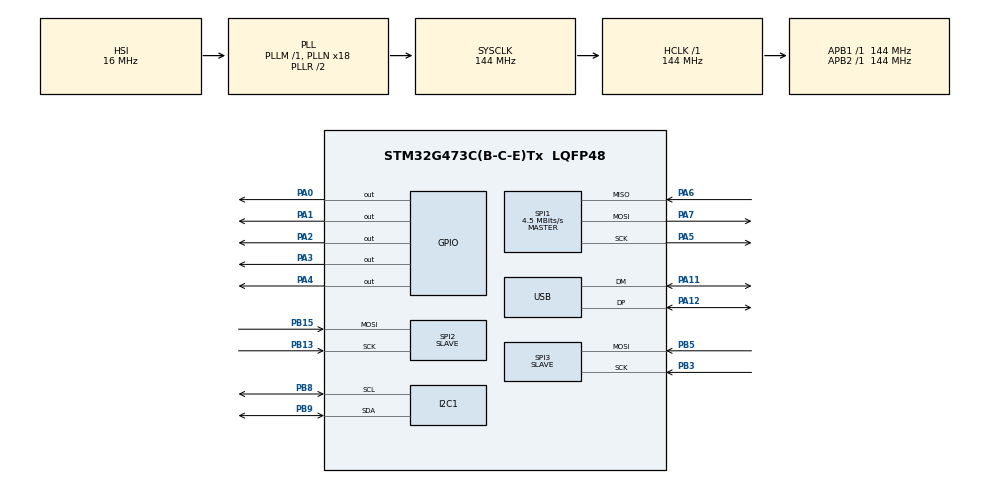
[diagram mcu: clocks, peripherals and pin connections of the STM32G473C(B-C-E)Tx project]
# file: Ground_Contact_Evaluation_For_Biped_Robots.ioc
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Mcu.Family=STM32G4
Dma.SPI3_RX.0.Priority=DMA_PRIORITY_LOW
Dma.SPI1_TX.3.EventEnable=DISABLE
Dma.SPI3_RX.0.RequestNumber=1
Dma.SPI1_TX.3.PeriphDataAlignment=DMA_PDATAALIGN_BYTE
PA6.Mode=Full_Duplex_Master
USB_DEVICE.CLASS_NAME_FS=CDC
Dma.SPI2_RX.1.MemDataAlignment=DMA_MDATAALIGN_BYTE
TIM17.Prescaler=65
RCC.CortexFreq_Value=144000000
SPI3.Direction=SPI_DIRECTION_2LINES_RXONLY
VP_TIM17_VS_ClockSourceINT.Mode=Enable_Timer
SPI3.VirtualType=VM_SLAVE
Dma.SPI1_TX.3.Instance=DMA1_Channel4
SPI1.VirtualType=VM_MASTER
SPI2.VirtualType=VM_SLAVE
NVIC.TIM6_DAC_IRQn=true\:1\:0\:true\:false\:true\:true\:true
PA11.Mode=Device
Dma.SPI1_RX.2.SyncRequestNumber=1
Dma.SPI2_RX.1.Polarity=HAL_DMAMUX_REQ_GEN_RISING
Dma.SPI2_RX.1.Mode=DMA_NORMAL
PB13.Signal=SPI2_SCK
PB15.Signal=SPI2_MOSI
Dma.SPI2_RX.1.Direction=DMA_PERIPH_TO_MEMORY
RCC.SYSCLKSource=RCC_SYSCLKSOURCE_PLLCLK
ProjectManager.StackSize=0x400
Dma.SPI1_TX.3.SignalID=NONE
NVIC.DMA1_Channel3_IRQn=true\:0\:0\:true\:false\:true\:false\:true
VP_TIM7_VS_ClockSourceINT.Mode=Enable_Timer
Dma.SPI2_RX.1.PeriphDataAlignment=DMA_PDATAALIGN_BYTE
Dma.SPI3_RX.0.MemInc=DMA_MINC_ENABLE
PA12.Signal=USB_DP
Dma.SPI1_TX.3.Priority=DMA_PRIORITY_LOW
Dma.SPI1_RX.2.SyncEnable=DISABLE
TIM17.PeriodNoDither=2180
Dma.SPI1_RX.2.Polarity=HAL_DMAMUX_REQ_GEN_RISING
SPI1.Direction=SPI_DIRECTION_2LINES
RCC.HCLKFreq_Value=144000000
RCC.APB2TimFreq_Value=144000000
Dma.SPI2_RX.1.RequestNumber=1
SPI1.CalculateBaudRate=4.5 MBits/s
Dma.SPI3_RX.0.PeriphDataAlignment=DMA_PDATAALIGN_BYTE
Dma.SPI3_RX.0.SyncSignalID=NONE
RCC.AHBFreq_Value=144000000
SPI3.DataSize=SPI_DATASIZE_8BIT
Dma.SPI3_RX.0.SignalID=NONE
Dma.SPI3_RX.0.Direction=DMA_PERIPH_TO_MEMORY
RCC.HSE_VALUE=8000000
PB3.Mode=RX_Only_Simplex_Unidirect_Slave
Dma.SPI3_RX.0.MemDataAlignment=DMA_MDATAALIGN_BYTE
RCC.ADC12Freq_Value=144000000
Dma.SPI3_RX.0.EventEnable=DISABLE
NVIC.TIM1_TRG_COM_TIM17_IRQn=true\:1\:0\:true\:false\:true\:true\:true
Dma.SPI1_RX.2.Direction=DMA_PERIPH_TO_MEMORY
Dma.SPI1_RX.2.MemDataAlignment=DMA_MDATAALIGN_BYTE
Dma.SPI1_TX.3.PeriphInc=DMA_PINC_DISABLE
PA14.Mode=Serial_Wire
PB5.Mode=RX_Only_Simplex_Unidirect_Slave
SPI1.DataSize=SPI_DATASIZE_8BIT
VP_SYS_VS_DBSignals.Mode=DisableDeadBatterySignals
Dma.SPI2_RX.1.SyncRequestNumber=1
PA0.Signal=GPIO_Output
PB9.Signal=I2C1_SDA
Mcu.Package=LQFP48
PA6.Signal=SPI1_MISO
SPI2.Mode=SPI_MODE_SLAVE
SPI3.Mode=SPI_MODE_SLAVE
TIM6.PeriodNoDither=30
Dma.SPI2_RX.1.Instance=DMA1_Channel2
NVIC.USB_LP_IRQn=true\:0\:0\:false\:false\:true\:false\:true
Dma.SPI1_RX.2.SyncPolarity=HAL_DMAMUX_SYNC_NO_EVENT
Dma.SPI1_TX.3.RequestNumber=1
Dma.Request2=SPI1_RX
Dma.SPI1_RX.2.Priority=DMA_PRIORITY_LOW
Dma.Request1=SPI2_RX
RCC.APB1TimFreq_Value=144000000
Dma.Request3=SPI1_TX
Dma.SPI1_RX.2.Mode=DMA_NORMAL
Dma.SPI3_RX.0.SyncPolarity=HAL_DMAMUX_SYNC_NO_EVENT
SPI2.Direction=SPI_DIRECTION_2LINES_RXONLY
PB13.Mode=RX_Only_Simplex_Unidirect_Slave
NVIC.DMA1_Channel4_IRQn=true\:0\:0\:false\:false\:true\:false\:true
Dma.SPI1_TX.3.Polarity=HAL_DMAMUX_REQ_GEN_RISING
Dma.Request0=SPI3_RX
SPI1.BaudRatePrescaler=SPI_BAUDRATEPRESCALER_32
Dma.SPI2_RX.1.SyncPolarity=HAL_DMAMUX_SYNC_NO_EVENT
Dma.SPI1_TX.3.SyncRequestNumber=1
RCC.HSI48_VALUE=48000000
Dma.SPI3_RX.0.Polarity=HAL_DMAMUX_REQ_GEN_RISING
PA3.Signal=GPIO_Output
PA5.Mode=Full_Duplex_Master
PB8-BOOT0.Mode=I2C
Dma.SPI1_TX.3.MemInc=DMA_MINC_ENABLE
PA7.Mode=Full_Duplex_Master
Dma.SPI1_RX.2.SignalID=NONE
Dma.SPI3_RX.0.PeriphInc=DMA_PINC_DISABLE
USB_DEVICE.VirtualModeFS=Cdc_FS
TIM6.Prescaler=512
VP_TIM6_VS_ClockSourceINT.Mode=Enable_Timer
RCC.EXTERNAL_CLOCK_VALUE=12288000
Dma.SPI2_RX.1.EventEnable=DISABLE
Dma.SPI2_RX.1.SyncSignalID=NONE
Dma.SPI1_RX.2.Instance=DMA1_Channel1
Dma.SPI3_RX.0.Mode=DMA_NORMAL
PA13.Signal=SYS_JTMS-SWDIO
Dma.SPI1_RX.2.RequestNumber=1
NVIC.DMA1_Channel2_IRQn=true\:0\:0\:true\:false\:true\:false\:true
ProjectManager.TargetToolchain=STM32CubeIDE
Dma.SPI1_TX.3.SyncSignalID=NONE
VP_USB_DEVICE_VS_USB_DEVICE_CDC_FS.Mode=CDC_FS
PB9.Mode=I2C
I2C1.Timing=0x20B0D9FF
RCC.USBFreq_Value=48000000
Dma.SPI1_RX.2.SyncSignalID=NONE
Dma.SPI1_RX.2.EventEnable=DISABLE
Dma.SPI1_TX.3.Direction=DMA_MEMORY_TO_PERIPH
RCC.LSE_VALUE=32768
PA1.Signal=GPIO_Output
PA5.Signal=SPI1_SCK
PB8-BOOT0.Signal=I2C1_SCL
TIM7.Prescaler=144-1
board=custom
RCC.VCOOutputFreq_Value=288000000
PB15.Mode=RX_Only_Simplex_Unidirect_Slave
Dma.SPI2_RX.1.SyncEnable=DISABLE
Dma.SPI2_RX.1.SignalID=NONE
RCC.ADC345Freq_Value=144000000
RCC.APB2Freq_Value=144000000
Dma.SPI2_RX.1.Priority=DMA_PRIORITY_LOW
SPI1.Mode=SPI_MODE_MASTER
PA13.Mode=Serial_Wire
Mcu.Name=STM32G473C(B-C-E)Tx
Dma.SPI2_RX.1.PeriphInc=DMA_PINC_DISABLE
Dma.SPI3_RX.0.Instance=DMA1_Channel3
Dma.SPI1_RX.2.PeriphDataAlignment=DMA_PDATAALIGN_BYTE
PA2.Signal=GPIO_Output
Dma.SPI1_RX.2.MemInc=DMA_MINC_ENABLE
Dma.SPI3_RX.0.SyncRequestNumber=1
PB3.Signal=SPI3_SCK
PA4.Signal=GPIO_Output
Dma.SPI1_TX.3.Mode=DMA_NORMAL
RCC.SYSCLKFreq_VALUE=144000000
PB5.Signal=SPI3_MOSI
PA12.Mode=Device
Dma.SPI1_TX.3.SyncEnable=DISABLE
PA11.Signal=USB_DM
PA14.Signal=SYS_JTCK-SWCLK
ProjectManager.HeapSize=0x200
RCC.HSI_VALUE=16000000
RCC.PLLQ=RCC_PLLQ_DIV6
NVIC.PriorityGroup=NVIC_PRIORITYGROUP_4
RCC.PLLN=18
Dma.SPI3_RX.0.SyncEnable=DISABLE
SPI2.DataSize=SPI_DATASIZE_8BIT
NVIC.DMA1_Channel1_IRQn=true\:0\:0\:true\:false\:true\:false\:true
Dma.SPI1_TX.3.MemDataAlignment=DMA_MDATAALIGN_BYTE
Dma.SPI1_TX.3.SyncPolarity=HAL_DMAMUX_SYNC_NO_EVENT
RCC.APB1Freq_Value=144000000
USB_DEVICE.VirtualMode=Cdc
Dma.SPI1_RX.2.PeriphInc=DMA_PINC_DISABLE
Dma.SPI2_RX.1.MemInc=DMA_MINC_ENABLE
PA7.Signal=SPI1_MOSI

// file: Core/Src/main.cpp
/* USER CODE BEGIN Header */
/**
  ******************************************************************************
  * @file           : main.cpp
  * @brief          : Main program body
  ******************************************************************************
  * @attention
  *
  * <h2><center>&copy; Copyright (c) 2021 STMicroelectronics.
  * All rights reserved.</center></h2>
  *
  * This software component is licensed by ST under BSD 3-Clause license,
  * the "License"; You may not use this file except in compliance with the
  * License. You may obtain a copy of the License at:
  *                        opensource.org/licenses/BSD-3-Clause
  *
  ******************************I************************************************
  */
/* USER CODE END Header */
#include "main.h"
#include "usb_device.h"

/* USER CODE BEGIN Includes */
#include <string.h>
#include <stdio.h>

#include "bmp388.h"
#include "usbd_cdc_if.h"

//includes for IMU
#include "icm42605.h"
#include "kalman.h"
#include "matrix_math.h"
/* USER CODE END Includes */

I2C_HandleTypeDef hi2c1;

SPI_HandleTypeDef hspi1;
SPI_HandleTypeDef hspi2;
SPI_HandleTypeDef hspi3;
DMA_HandleTypeDef hdma_spi1_rx;
DMA_HandleTypeDef hdma_spi1_tx;
DMA_HandleTypeDef hdma_spi2_rx;
DMA_HandleTypeDef hdma_spi3_rx;

TIM_HandleTypeDef htim6;
TIM_HandleTypeDef htim7;
TIM_HandleTypeDef htim17;

/* USER CODE BEGIN PV */
using namespace std;
int vector_size = 2;			//size of square matrix for Kalman Filter
//float n = 97530; 				//threshold to detect touch;

float kalman_roll, kalman_pitch;
float pressure_fp[8][3], pressure_bp[8][3];
int chip_select = 0;
int j = 0;						//Switch statement

uint8_t buf[40];

//Kalman Filter matrices
matrix Q = {{0.005, 0}, {0, 0.005}};				//Process noise covariance matrix
matrix A = {{1, 0}, {0, 1}};						//State transition matrix
matrix B = {{0.004, 0}, {0, 0.004}};				//Control input matrix, dt
matrix x_e = {{10, 0}, {0, 10}};					//initial value
matrix p_e = {{0.10, 0}, {0, 0.10}};				//State error variance
matrix I = {{1, 0}, {0, 1}};						//Identity matrix
matrix H = {{1, 0}, {0, 1}};						//Measurement matrix
matrix R(vector_size , matrix_1D (vector_size, 0));	//Measurement noise matrix

uint16_t CS_1 = GPIO_PIN_0 | GPIO_PIN_1 | GPIO_PIN_2;
uint16_t CS_2 = GPIO_PIN_1 | GPIO_PIN_2;
uint16_t CS_3 = GPIO_PIN_0 | GPIO_PIN_2;
uint16_t CS_4 = GPIO_PIN_2;
uint16_t CS_5 = GPIO_PIN_0 | GPIO_PIN_1;
uint16_t CS_6 = GPIO_PIN_1;
uint16_t CS_7 = GPIO_PIN_0;
uint16_t CS_8_1 = GPIO_PIN_3; //Decoder1 Enable Pin
uint16_t CS_8_2 = GPIO_PIN_4; //Decoder2 Enable Pin

//storing chip selects in arrays. fp-> front panel, bp-> back panel
uint16_t chip_select_fp[8] = {CS_1, CS_2, CS_3, CS_4, CS_5, CS_6, CS_7, CS_8_1};
uint16_t chip_select_bp[8] = {CS_1, CS_2, CS_3, CS_4, CS_5, CS_6, CS_7, CS_8_2};

//Class definitions for sensors on the front back panel
bmp388 bmp388_fp[8];
bmp388 bmp388_bp[8];

float cop_y;
class cop_t
{
public:
	float cop_panel;

	cop_t(){};
	~cop_t(){};

	void centre_of_pressure(float p[], float y[]);

	float distance_y_bp[3] = {1.5, 3.75, 6};
	float distance_y_fp[3] = {109, 111.25, 113.5};
	float cop_numerator, cop_denominator = 0;
};

cop_t cop_fp_y;	//front panel centre of pressure
cop_t cop_bp_y;	//back panel centre of pressure

//Class definitions for IMU
kf_math kf_math;
ICM42605 ICM42605;
Kalman kf(Q, A, B, x_e, p_e, I, H);

/* USER CODE END PV */

extern "C" void SystemClock_Config(void);
static void MX_GPIO_Init(void);
static void MX_DMA_Init(void);
static void MX_SPI1_Init(void);
static void MX_SPI2_Init(void);
static void MX_SPI3_Init(void);
static void MX_TIM17_Init(void);
static void MX_TIM6_Init(void);
static void MX_I2C1_Init(void);
static void MX_TIM7_Init(void);

/* USER CODE BEGIN PFP */
void front_panel_decoder_enable(void);
void back_panel_decoder_enable(void);
void shape_of_contact(float[]);
void delay_us (uint16_t us);
/* USER CODE END PFP */

int main(void)
{

  /* MCU Configuration--------------------------------------------------------*/

  /* Reset of all peripherals, Initializes the Flash interface and the Systick. */
  HAL_Init();

  /* Configure the system clock */
  SystemClock_Config();

  /* Initialize all configured peripherals */
  MX_GPIO_Init();
  MX_DMA_Init();
  MX_SPI1_Init();
  MX_SPI2_Init();
  MX_SPI3_Init();
  MX_TIM17_Init();
  MX_TIM6_Init();
  MX_USB_Device_Init();
  MX_I2C1_Init();
  MX_TIM7_Init();
  /* USER CODE BEGIN 2 */

  ICM42605.Init();
  ICM42605.GyroCalibrate();

  //Set all decoder outputs high
  HAL_GPIO_WritePin(GPIOA, GPIO_PIN_0, GPIO_PIN_SET);
  HAL_GPIO_WritePin(GPIOA, GPIO_PIN_1, GPIO_PIN_SET);
  HAL_GPIO_WritePin(GPIOA, GPIO_PIN_2, GPIO_PIN_SET);

  front_panel_decoder_enable();

  //Initialize and calculate coeffecients of the sensors on the front panel
  for (int i=0; i<8; i++)
  {
	  bmp388_fp[i].chip_select(chip_select_fp[i]);
	  bmp388_fp[i].spi(&hspi1, &hspi2, &hspi3);
	  bmp388_fp[i].init();
	  bmp388_fp[i].calculate_coeff();
	  HAL_Delay(1);
  }

  back_panel_decoder_enable();

  //Initialize and calculate coeffecients of the sensors on the back panel
  for (int i=0; i<8; i++)
  {
	  bmp388_bp[i].chip_select(chip_select_bp[i]);
	  bmp388_bp[i].spi(&hspi1, &hspi2, &hspi3);
	  bmp388_bp[i].init();
	  bmp388_bp[i].calculate_coeff();
	  HAL_Delay(1);
  }

  front_panel_decoder_enable();
  HAL_TIM_Base_Start(&htim7);				//1 us timer for gap between USB transmissions
  HAL_TIM_Base_Start_IT(&htim17);			//Timer for measurement cycle

  /* USER CODE END 2 */

  /* Infinite loop */
  while (1)
  {

  }
}

void SystemClock_Config(void)
{
  RCC_OscInitTypeDef RCC_OscInitStruct = {0};
  RCC_ClkInitTypeDef RCC_ClkInitStruct = {0};
  RCC_PeriphCLKInitTypeDef PeriphClkInit = {0};

  /** Configure the main internal regulator output voltage
  */
  HAL_PWREx_ControlVoltageScaling(PWR_REGULATOR_VOLTAGE_SCALE1);
  /** Initializes the RCC Oscillators according to the specified parameters
  * in the RCC_OscInitTypeDef structure.
  */
  RCC_OscInitStruct.OscillatorType = RCC_OSCILLATORTYPE_HSI;
  RCC_OscInitStruct.HSIState = RCC_HSI_ON;
  RCC_OscInitStruct.HSICalibrationValue = RCC_HSICALIBRATION_DEFAULT;
  RCC_OscInitStruct.PLL.PLLState = RCC_PLL_ON;
  RCC_OscInitStruct.PLL.PLLSource = RCC_PLLSOURCE_HSI;
  RCC_OscInitStruct.PLL.PLLM = RCC_PLLM_DIV1;
  RCC_OscInitStruct.PLL.PLLN = 18;
  RCC_OscInitStruct.PLL.PLLP = RCC_PLLP_DIV2;
  RCC_OscInitStruct.PLL.PLLQ = RCC_PLLQ_DIV6;
  RCC_OscInitStruct.PLL.PLLR = RCC_PLLR_DIV2;
  if (HAL_RCC_OscConfig(&RCC_OscInitStruct) != HAL_OK)
  {
    Error_Handler();
  }
  /** Initializes the CPU, AHB and APB buses clocks
  */
  RCC_ClkInitStruct.ClockType = RCC_CLOCKTYPE_HCLK|RCC_CLOCKTYPE_SYSCLK
                              |RCC_CLOCKTYPE_PCLK1|RCC_CLOCKTYPE_PCLK2;
  RCC_ClkInitStruct.SYSCLKSource = RCC_SYSCLKSOURCE_PLLCLK;
  RCC_ClkInitStruct.AHBCLKDivider = RCC_SYSCLK_DIV1;
  RCC_ClkInitStruct.APB1CLKDivider = RCC_HCLK_DIV1;
  RCC_ClkInitStruct.APB2CLKDivider = RCC_HCLK_DIV1;

  if (HAL_RCC_ClockConfig(&RCC_ClkInitStruct, FLASH_LATENCY_4) != HAL_OK)
  {
    Error_Handler();
  }
  /** Initializes the peripherals clocks
  */
  PeriphClkInit.PeriphClockSelection = RCC_PERIPHCLK_I2C1|RCC_PERIPHCLK_USB;
  PeriphClkInit.I2c1ClockSelection = RCC_I2C1CLKSOURCE_PCLK1;
  PeriphClkInit.UsbClockSelection = RCC_USBCLKSOURCE_PLL;
  if (HAL_RCCEx_PeriphCLKConfig(&PeriphClkInit) != HAL_OK)
  {
    Error_Handler();
  }
}

static void MX_I2C1_Init(void)
{

  hi2c1.Instance = I2C1;
  hi2c1.Init.Timing = 0x20B0D9FF;
  hi2c1.Init.OwnAddress1 = 0;
  hi2c1.Init.AddressingMode = I2C_ADDRESSINGMODE_7BIT;
  hi2c1.Init.DualAddressMode = I2C_DUALADDRESS_DISABLE;
  hi2c1.Init.OwnAddress2 = 0;
  hi2c1.Init.OwnAddress2Masks = I2C_OA2_NOMASK;
  hi2c1.Init.GeneralCallMode = I2C_GENERALCALL_DISABLE;
  hi2c1.Init.NoStretchMode = I2C_NOSTRETCH_DISABLE;
  if (HAL_I2C_Init(&hi2c1) != HAL_OK)
  {
    Error_Handler();
  }
  /** Configure Analogue filter
  */
  if (HAL_I2CEx_ConfigAnalogFilter(&hi2c1, I2C_ANALOGFILTER_ENABLE) != HAL_OK)
  {
    Error_Handler();
  }
  /** Configure Digital filter
  */
  if (HAL_I2CEx_ConfigDigitalFilter(&hi2c1, 0) != HAL_OK)
  {
    Error_Handler();
  }

}

static void MX_SPI1_Init(void)
{

  /* SPI1 parameter configuration*/
  hspi1.Instance = SPI1;
  hspi1.Init.Mode = SPI_MODE_MASTER;
  hspi1.Init.Direction = SPI_DIRECTION_2LINES;
  hspi1.Init.DataSize = SPI_DATASIZE_8BIT;
  hspi1.Init.CLKPolarity = SPI_POLARITY_LOW;
  hspi1.Init.CLKPhase = SPI_PHASE_1EDGE;
  hspi1.Init.NSS = SPI_NSS_SOFT;
  hspi1.Init.BaudRatePrescaler = SPI_BAUDRATEPRESCALER_32;
  hspi1.Init.FirstBit = SPI_FIRSTBIT_MSB;
  hspi1.Init.TIMode = SPI_TIMODE_DISABLE;
  hspi1.Init.CRCCalculation = SPI_CRCCALCULATION_DISABLE;
  hspi1.Init.CRCPolynomial = 7;
  hspi1.Init.CRCLength = SPI_CRC_LENGTH_DATASIZE;
  hspi1.Init.NSSPMode = SPI_NSS_PULSE_ENABLE;
  if (HAL_SPI_Init(&hspi1) != HAL_OK)
  {
    Error_Handler();
  }

}

static void MX_SPI2_Init(void)
{

  /* SPI2 parameter configuration*/
  hspi2.Instance = SPI2;
  hspi2.Init.Mode = SPI_MODE_SLAVE;
  hspi2.Init.Direction = SPI_DIRECTION_2LINES_RXONLY;
  hspi2.Init.DataSize = SPI_DATASIZE_8BIT;
  hspi2.Init.CLKPolarity = SPI_POLARITY_LOW;
  hspi2.Init.CLKPhase = SPI_PHASE_1EDGE;
  hspi2.Init.NSS = SPI_NSS_SOFT;
  hspi2.Init.FirstBit = SPI_FIRSTBIT_MSB;
  hspi2.Init.TIMode = SPI_TIMODE_DISABLE;
  hspi2.Init.CRCCalculation = SPI_CRCCALCULATION_DISABLE;
  hspi2.Init.CRCPolynomial = 7;
  hspi2.Init.CRCLength = SPI_CRC_LENGTH_DATASIZE;
  hspi2.Init.NSSPMode = SPI_NSS_PULSE_DISABLE;
  if (HAL_SPI_Init(&hspi2) != HAL_OK)
  {
    Error_Handler();
  }

}

static void MX_SPI3_Init(void)
{

  /* SPI3 parameter configuration*/
  hspi3.Instance = SPI3;
  hspi3.Init.Mode = SPI_MODE_SLAVE;
  hspi3.Init.Direction = SPI_DIRECTION_2LINES_RXONLY;
  hspi3.Init.DataSize = SPI_DATASIZE_8BIT;
  hspi3.Init.CLKPolarity = SPI_POLARITY_LOW;
  hspi3.Init.CLKPhase = SPI_PHASE_1EDGE;
  hspi3.Init.NSS = SPI_NSS_SOFT;
  hspi3.Init.FirstBit = SPI_FIRSTBIT_MSB;
  hspi3.Init.TIMode = SPI_TIMODE_DISABLE;
  hspi3.Init.CRCCalculation = SPI_CRCCALCULATION_DISABLE;
  hspi3.Init.CRCPolynomial = 7;
  hspi3.Init.CRCLength = SPI_CRC_LENGTH_DATASIZE;
  hspi3.Init.NSSPMode = SPI_NSS_PULSE_DISABLE;
  if (HAL_SPI_Init(&hspi3) != HAL_OK)
  {
    Error_Handler();
  }

}

static void MX_TIM6_Init(void)
{

  TIM_MasterConfigTypeDef sMasterConfig = {0};

  htim6.Instance = TIM6;
  htim6.Init.Prescaler = 512;
  htim6.Init.CounterMode = TIM_COUNTERMODE_UP;
  htim6.Init.Period = 30;
  htim6.Init.AutoReloadPreload = TIM_AUTORELOAD_PRELOAD_DISABLE;
  if (HAL_TIM_Base_Init(&htim6) != HAL_OK)
  {
    Error_Handler();
  }
  sMasterConfig.MasterOutputTrigger = TIM_TRGO_RESET;
  sMasterConfig.MasterSlaveMode = TIM_MASTERSLAVEMODE_DISABLE;
  if (HAL_TIMEx_MasterConfigSynchronization(&htim6, &sMasterConfig) != HAL_OK)
  {
    Error_Handler();
  }

}

static void MX_TIM7_Init(void)
{

  TIM_MasterConfigTypeDef sMasterConfig = {0};

  htim7.Instance = TIM7;
  htim7.Init.Prescaler = 144-1;
  htim7.Init.CounterMode = TIM_COUNTERMODE_UP;
  htim7.Init.Period = 65535;
  htim7.Init.AutoReloadPreload = TIM_AUTORELOAD_PRELOAD_DISABLE;
  if (HAL_TIM_Base_Init(&htim7) != HAL_OK)
  {
    Error_Handler();
  }
  sMasterConfig.MasterOutputTrigger = TIM_TRGO_RESET;
  sMasterConfig.MasterSlaveMode = TIM_MASTERSLAVEMODE_DISABLE;
  if (HAL_TIMEx_MasterConfigSynchronization(&htim7, &sMasterConfig) != HAL_OK)
  {
    Error_Handler();
  }

}

static void MX_TIM17_Init(void)
{

  htim17.Instance = TIM17;
  htim17.Init.Prescaler = 65;
  htim17.Init.CounterMode = TIM_COUNTERMODE_UP;
  htim17.Init.Period = 2180;
  htim17.Init.ClockDivision = TIM_CLOCKDIVISION_DIV1;
  htim17.Init.RepetitionCounter = 0;
  htim17.Init.AutoReloadPreload = TIM_AUTORELOAD_PRELOAD_DISABLE;
  if (HAL_TIM_Base_Init(&htim17) != HAL_OK)
  {
    Error_Handler();
  }

}

static void MX_DMA_Init(void)
{

  /* DMA controller clock enable */
  __HAL_RCC_DMAMUX1_CLK_ENABLE();
  __HAL_RCC_DMA1_CLK_ENABLE();

  /* DMA interrupt init */
  /* DMA1_Channel1_IRQn interrupt configuration */
  HAL_NVIC_SetPriority(DMA1_Channel1_IRQn, 0, 0);
  HAL_NVIC_EnableIRQ(DMA1_Channel1_IRQn);
  /* DMA1_Channel2_IRQn interrupt configuration */
  HAL_NVIC_SetPriority(DMA1_Channel2_IRQn, 0, 0);
  HAL_NVIC_EnableIRQ(DMA1_Channel2_IRQn);
  /* DMA1_Channel3_IRQn interrupt configuration */
  HAL_NVIC_SetPriority(DMA1_Channel3_IRQn, 0, 0);
  HAL_NVIC_EnableIRQ(DMA1_Channel3_IRQn);
  /* DMA1_Channel4_IRQn interrupt configuration */
  HAL_NVIC_SetPriority(DMA1_Channel4_IRQn, 0, 0);
  HAL_NVIC_EnableIRQ(DMA1_Channel4_IRQn);

}

static void MX_GPIO_Init(void)
{
  GPIO_InitTypeDef GPIO_InitStruct = {0};

  /* GPIO Ports Clock Enable */
  __HAL_RCC_GPIOA_CLK_ENABLE();
  __HAL_RCC_GPIOB_CLK_ENABLE();

  /*Configure GPIO pin Output Level */
  HAL_GPIO_WritePin(GPIOA, GPIO_PIN_0|GPIO_PIN_1|GPIO_PIN_2|GPIO_PIN_3
                          |GPIO_PIN_4, GPIO_PIN_RESET);

  /*Configure GPIO pins : PA0 PA1 PA2 PA3
                           PA4 */
  GPIO_InitStruct.Pin = GPIO_PIN_0|GPIO_PIN_1|GPIO_PIN_2|GPIO_PIN_3
                          |GPIO_PIN_4;
  GPIO_InitStruct.Mode = GPIO_MODE_OUTPUT_PP;
  GPIO_InitStruct.Pull = GPIO_NOPULL;
  GPIO_InitStruct.Speed = GPIO_SPEED_FREQ_LOW;
  HAL_GPIO_Init(GPIOA, &GPIO_InitStruct);

}

/* USER CODE BEGIN 4 */
void HAL_TIM_PeriodElapsedCallback(TIM_HandleTypeDef *htim)
{
	if (htim == &htim17)
	{
		HAL_TIM_Base_Start_IT(&htim6);
	}
	if (htim == &htim6)
	{
		switch (j)
		{

		//Sensors readout
		case 0:
			for(chip_select = 0; chip_select <8; chip_select++)
				bmp388_fp[chip_select].readout();

			back_panel_decoder_enable();

			for(chip_select = 0; chip_select <8; chip_select++)
				bmp388_bp[chip_select].readout();

			front_panel_decoder_enable();
			j++;
			break;

		//Compensate the sensors on the front panel and transmit data via USB
		case 1:
			delay_us(100);
			sprintf((char*)buf, "%s \r\n","Front Panel:");
			CDC_Transmit_FS((uint8_t*)buf, strlen((char*)buf));

			for (chip_select = 0; chip_select < 8; chip_select++)
			{
				bmp388_fp[chip_select].compensate();
				cop_fp_y.centre_of_pressure(bmp388_fp[chip_select].pressure_, cop_fp_y.distance_y_fp);

				//Uncomment for the shape of contact
				//shape_of_contact(bmp388_fp[chip_select].pressure_);

				sprintf((char*)buf, " %d %0.4f %0.4f %0.4f \r\n", chip_select+1, bmp388_fp[chip_select].pressure_[0], bmp388_fp[chip_select].pressure_[1], bmp388_fp[chip_select].pressure_[2]);
				CDC_Transmit_FS((uint8_t*)buf, strlen((char*)buf));
				pressure_fp[chip_select][0] = bmp388_fp[chip_select].pressure_[0];
				pressure_fp[chip_select][1] = bmp388_fp[chip_select].pressure_[1];
				pressure_fp[chip_select][2] = bmp388_fp[chip_select].pressure_[2];
				delay_us(100);
			}
			j++;
			break;

		//Compensate the sensors on the back panel and transmit data via USB
		case 2:
			delay_us(100);

			sprintf((char*)buf, "%s \r\n","Back Panel:");
			CDC_Transmit_FS((uint8_t*)buf, strlen((char*)buf));

			for (chip_select = 0; chip_select < 8; chip_select++)
			{
				bmp388_bp[chip_select].compensate();
				cop_bp_y.centre_of_pressure(bmp388_bp[chip_select].pressure_, cop_bp_y.distance_y_bp);

				//Uncomment for the shape of contact
				//shape_of_contact(bmp388_bp[chip_select].pressure_);

				sprintf((char*)buf, " %d %0.4f %0.4f %0.4f \r\n", chip_select+1, bmp388_bp[chip_select].pressure_[0], bmp388_bp[chip_select].pressure_[1], bmp388_bp[chip_select].pressure_[2]);
				CDC_Transmit_FS((uint8_t*)buf, strlen((char*)buf));

				pressure_bp[chip_select][0] = bmp388_bp[chip_select].pressure_[0];
				pressure_bp[chip_select][1] = bmp388_bp[chip_select].pressure_[1];
				pressure_bp[chip_select][2] = bmp388_bp[chip_select].pressure_[2];
				delay_us(100);
			}
			delay_us(100);
			cop_y = (cop_fp_y.cop_panel + cop_bp_y.cop_panel) / 2;
			sprintf((char*)buf, "%s %0.2f \r\n","CoP along the foot length:", cop_y);
			CDC_Transmit_FS((uint8_t*)buf, strlen((char*)buf));
			j++;
			break;

		//IMU interface
		case 3:
			 ICM42605.ReadAcc();
			 ICM42605.ReadGyro();

			 R = {{kf_math.variance(ICM42605.acc_[0][0], 100), 0},
			   {0, kf_math.variance(ICM42605.acc_[1][1], 100)}};

			 kf.Prediction(ICM42605.gyro_);	//Control vector
			 kf.KalmanGain(R);				//Measurement noise vector
			 kf.Update(ICM42605.acc_);

			 //Convert from radians to degrees
			 kalman_pitch = kf.x_e_[0][0]*57.296f;
			 kalman_roll = kf.x_e_[1][1]*57.296f;

			 sprintf((char*)buf, "%s %0.2f %s %0.2f \r\n","Roll:", kalman_roll, "Pitch:", kalman_pitch);
			 CDC_Transmit_FS((uint8_t*)buf, strlen((char*)buf));

			 j=0;

			 HAL_TIM_Base_Stop_IT(&htim6);
			 break;
		}
	}
}

void front_panel_decoder_enable()
{
	HAL_GPIO_WritePin(GPIOA, GPIO_PIN_4, GPIO_PIN_SET); 	//Back panel Decoder disable
	HAL_GPIO_WritePin(GPIOA, GPIO_PIN_3, GPIO_PIN_RESET); 	//Front panel Decoder enable
}

void back_panel_decoder_enable()
{

	HAL_GPIO_WritePin(GPIOA, GPIO_PIN_4, GPIO_PIN_RESET);	//Back panel Decoder enable
	HAL_GPIO_WritePin(GPIOA, GPIO_PIN_3, GPIO_PIN_SET); 	//Front panel Decoder disable
}

//1 microsecond delay
void delay_us (uint16_t us)
{
	__HAL_TIM_SET_COUNTER(&htim7,0);  			// set the counter value at 0
	while (__HAL_TIM_GET_COUNTER(&htim7) < us);  // wait for the counter to reach the us input in the parameter
}

//Uncomment for the shape of contact
/*void shape_of_contact(float x[])
{
	for (int i = 0; i < 3; i ++)
	{
		if (x[i] > n)
			x[i] = 1;
		else
			x[i] = 0;
	}
}
*/

void cop_t::centre_of_pressure(float p[], float y[])
{
	cop_numerator = (p[0] * y[0] + p[1] * y[1] + p[2] * y[2]);
	cop_denominator =  p[0] + p[1] + p[2];
	cop_panel = cop_numerator / cop_denominator;
}

/* USER CODE END 4 */

void Error_Handler(void)
{
  __disable_irq();
  while (1)
  {
  }
}

/************************ (C) COPYRIGHT STMicroelectronics *****END OF FILE****/
